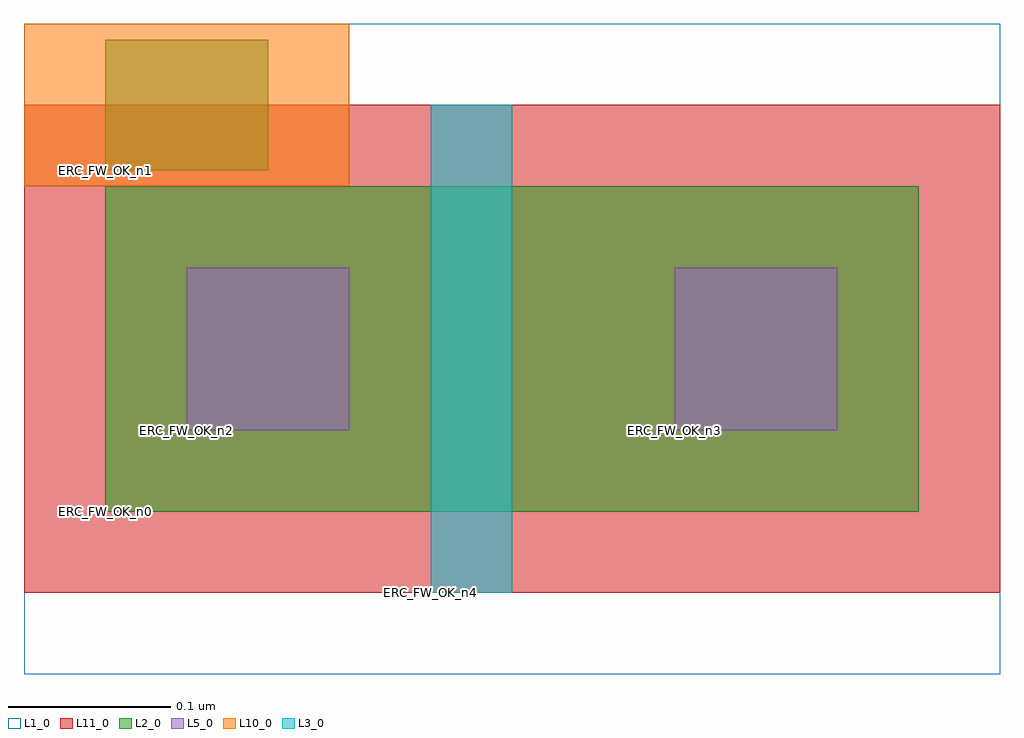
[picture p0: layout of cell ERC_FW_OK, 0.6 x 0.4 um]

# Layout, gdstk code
import gdstk
lib = gdstk.Library(unit=1e-6, precision=1e-09)
def R(c, l, rs):  # rectangles x0, y0, x1, y1
    for r in rs: c.add(gdstk.rectangle(r[:2], r[2:], *l))
L1_0 = (1, 0)
L2_0 = (2, 0)
L3_0 = (3, 0)
L5_0 = (5, 0)
L10_0 = (10, 0)
L11_0 = (11, 0)

erc_fw_ok = lib.new_cell('ERC_FW_OK')
R(erc_fw_ok, L1_0, [(0,0,0.6,0.4)])
R(erc_fw_ok, L2_0, [(0.05,0.1,0.55,0.3), (0.05,0.31,0.15,0.39)])
R(erc_fw_ok, L3_0, [(0.25,0.05,0.3,0.35)])
R(erc_fw_ok, L5_0, [(0.1,0.15,0.2,0.25), (0.4,0.15,0.5,0.25)])
R(erc_fw_ok, L10_0, [(0,0.3,0.2,0.4)])
R(erc_fw_ok, L11_0, [(0,0.05,0.6,0.35)])
erc_fw_ok.add(gdstk.Label('ERC_FW_OK_n0', (0.05,0.1), layer=2, texttype=5))
erc_fw_ok.add(gdstk.Label('ERC_FW_OK_n1', (0.05,0.31), layer=2, texttype=5))
erc_fw_ok.add(gdstk.Label('ERC_FW_OK_n2', (0.1,0.15), layer=5, texttype=5))
erc_fw_ok.add(gdstk.Label('ERC_FW_OK_n3', (0.4,0.15), layer=5, texttype=5))
erc_fw_ok.add(gdstk.Label('ERC_FW_OK_n4', (0.25,0.05), layer=3, texttype=5))

lib.write_gds('ERC_FW_OK.gds')
